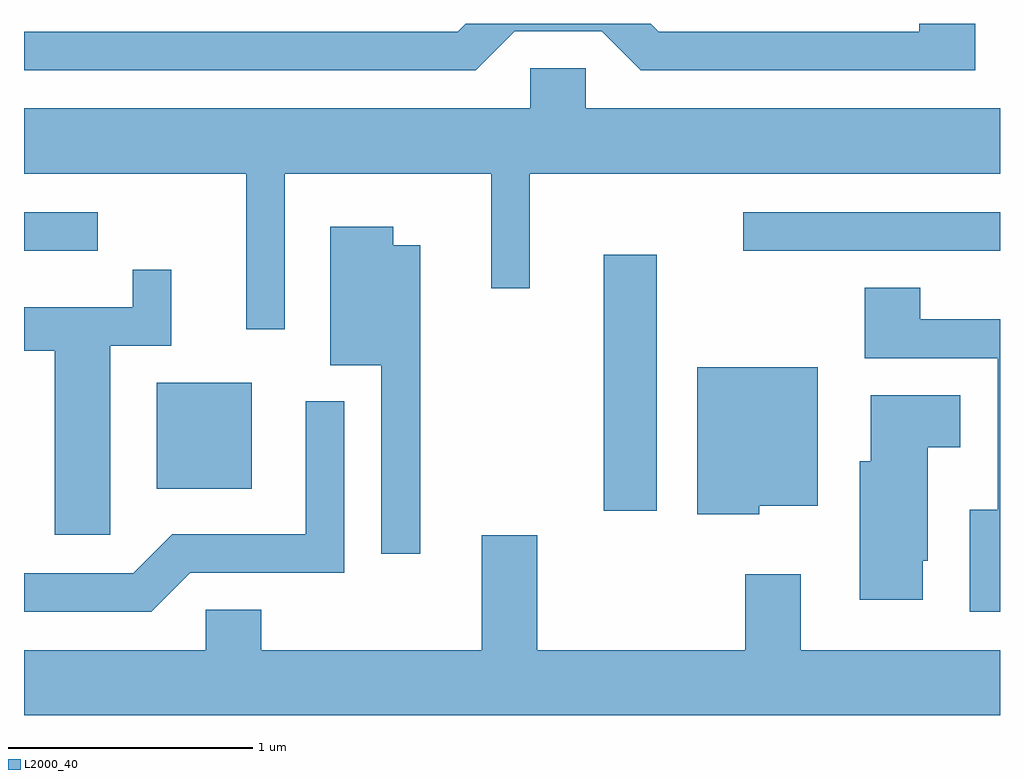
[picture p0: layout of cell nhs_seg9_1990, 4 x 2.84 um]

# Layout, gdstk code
import gdstk
lib = gdstk.Library(unit=1e-6, precision=1e-09)
def R(c, l, rs):  # rectangles x0, y0, x1, y1
    for r in rs: c.add(gdstk.rectangle(r[:2], r[2:], *l))
def P(c, l, *ps):  # polygons
    for p in ps: c.add(gdstk.Polygon(p, *l))
L2000_40 = (2000, 40)

nhs_seg9_1990 = lib.new_cell('nhs_seg9_1990')
R(nhs_seg9_1990, L2000_40, [(245.986,1990.436,246.204,1991.484), (244.156,1990.526,244.544,1990.959), (243.611,1991.501,243.913,1991.659), (246.558,1991.501,247.611,1991.659)])
P(nhs_seg9_1990, L2000_40, [(245.622,1992.401),(245.979,1992.401),(246.139,1992.241),(247.509,1992.241),(247.509,1992.432),(247.281,1992.432),(247.281,1992.399),(246.212,1992.399),(246.179,1992.432),(245.422,1992.432),(245.389,1992.399),(243.611,1992.399),(243.611,1992.241),(245.462,1992.241)],
  [(244.679,1991.816),(245.526,1991.816),(245.526,1991.348),(245.684,1991.348),(245.684,1991.816),(247.611,1991.816),(247.611,1992.084),(245.914,1992.084),(245.914,1992.249),(245.686,1992.249),(245.686,1992.084),(243.611,1992.084),(243.611,1991.816),(244.521,1991.816),(244.521,1991.178),(244.679,1991.178)],
  [(245.234,1991.524),(245.124,1991.524),(245.124,1991.599),(244.866,1991.599),(244.866,1991.031),(245.076,1991.031),(245.076,1990.258),(245.234,1990.258)],
  [(243.964,1991.111),(244.214,1991.111),(244.214,1991.423),(244.056,1991.423),(244.056,1991.269),(243.611,1991.269),(243.611,1991.091),(243.736,1991.091),(243.736,1990.336),(243.964,1990.336)],
  [(247.611,1991.219),(247.284,1991.219),(247.284,1991.349),(247.056,1991.349),(247.056,1991.061),(247.601,1991.061),(247.601,1990.439),(247.486,1990.439),(247.486,1990.021),(247.611,1990.021)],
  [(246.624,1990.456),(246.864,1990.456),(246.864,1991.024),(246.371,1991.024),(246.371,1990.421),(246.624,1990.421)],
  [(247.294,1990.231),(247.314,1990.231),(247.314,1990.696),(247.449,1990.696),(247.449,1990.909),(247.081,1990.909),(247.081,1990.639),(247.036,1990.639),(247.036,1990.071),(247.294,1990.071)],
  [(244.292,1990.181),(244.924,1990.181),(244.924,1990.883),(244.766,1990.883),(244.766,1990.339),(244.219,1990.339),(244.059,1990.179),(243.611,1990.179),(243.611,1990.021),(244.132,1990.021)],
  [(247.611,1989.864),(246.794,1989.864),(246.794,1990.174),(246.566,1990.174),(246.566,1989.864),(245.714,1989.864),(245.714,1990.334),(245.486,1990.334),(245.486,1989.864),(244.584,1989.864),(244.584,1990.029),(244.356,1990.029),(244.356,1989.864),(243.611,1989.864),(243.611,1989.596),(247.611,1989.596)])

lib.write_gds('nhs_seg9_1990.gds')
